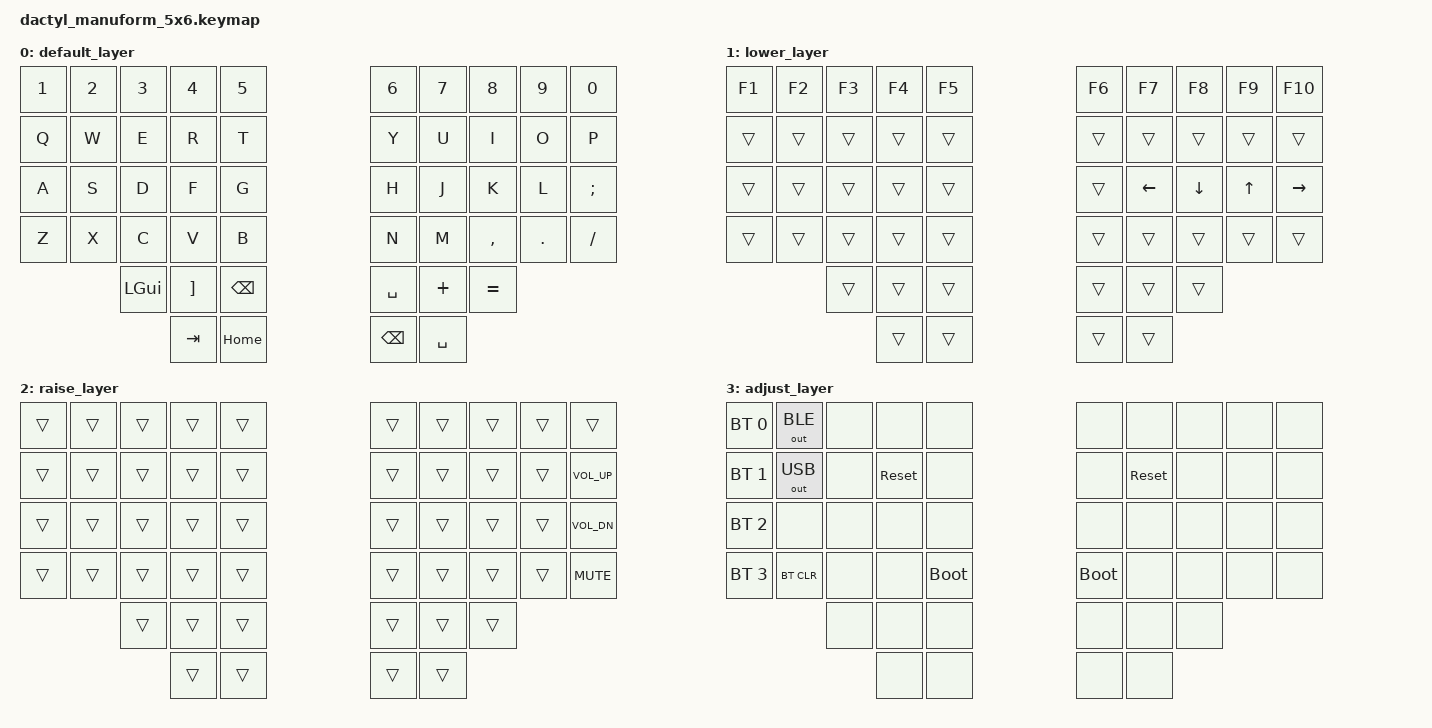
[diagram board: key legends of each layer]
#include <behaviors.dtsi>
#include <dt-bindings/zmk/bt.h>
#include <dt-bindings/zmk/keys.h>
#include <dt-bindings/zmk/outputs.h>

#define DEFAULT 0
#define LWR 1
#define RSE 2
#define ADJ 3

/ {
    keymap {
        compatible = "zmk,keymap";

        default_layer {
            bindings = <
&kp N1  &kp N2    &kp N3    &kp N4   &kp N5                          &kp N6     &kp N7     &kp N8     &kp N9     &kp N0    
&kp Q   &kp W     &kp E     &kp R    &kp T                           &kp Y      &kp U      &kp I      &kp O      &kp P     
&kp A   &kp S     &kp D     &kp F    &kp G                           &kp H      &kp J      &kp K      &kp L      &kp SEMI  
&kp Z   &kp X     &kp C     &kp V    &kp B                           &kp N      &kp M      &kp COMMA  &kp DOT    &kp FSLH  
                  &kp LGUI  &kp RBKT &kp BSPC                        &kp SPACE  &kp PLUS   &kp EQUAL
                            &kp TAB  &kp HOME                        &kp BSPC   &kp SPACE
            >;
        };

        lower_layer {
            bindings = <
&kp F1  &kp F2  &kp F3  &kp F4  &kp F5                      &kp F6  &kp F7    &kp F8    &kp F9  &kp F10   
&trans  &trans  &trans  &trans  &trans                      &trans  &trans    &trans    &trans  &trans    
&trans  &trans  &trans  &trans  &trans                      &trans  &kp LEFT  &kp DOWN  &kp UP  &kp RIGHT 
&trans  &trans  &trans  &trans  &trans                      &trans  &trans    &trans    &trans  &trans   
                &trans  &trans  &trans                      &trans  &trans    &trans
                        &trans  &trans                      &trans  &trans
            >;
        };

        raise_layer {
            bindings = <
&trans  &trans  &trans  &trans   &trans                  &trans  &trans  &trans  &trans  &trans
&trans  &trans  &trans  &trans   &trans                  &trans  &trans  &trans  &trans  &kp K_VOL_UP
&trans  &trans  &trans  &trans   &trans                  &trans  &trans  &trans  &trans  &kp K_VOL_DN
&trans  &trans  &trans  &trans   &trans                  &trans  &trans  &trans  &trans  &kp K_MUTE
                &trans  &trans   &trans                  &trans  &trans  &trans
                        &trans   &trans                  &trans  &trans
            >;
        };

        adjust_layer {
            bindings = <
&bt BT_SEL 0  &out OUT_BLE  &none  &none       &none                      &none          &none       &none  &none  &none  
&bt BT_SEL 1  &out OUT_USB  &none  &sys_reset  &none                      &none          &sys_reset  &none  &none  &none  
&bt BT_SEL 2  &none         &none  &none       &none                      &none          &none       &none  &none  &none 
&bt BT_SEL 3  &bt BT_CLR    &none  &none       &bootloader                &bootloader    &none       &none  &none  &none 
                            &none   &none      &none                      &none          &none       &none      
                                    &none      &none                      &none          &none 
            >;
        };
    };
};
